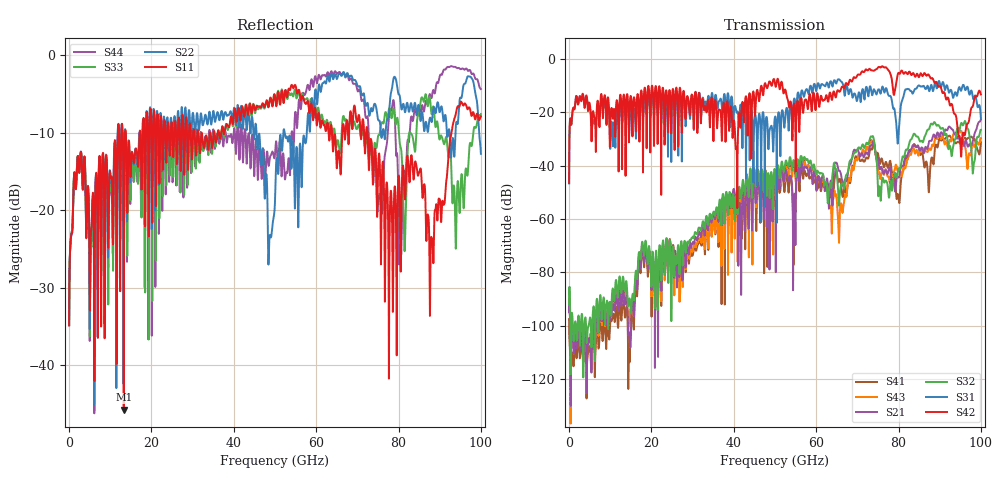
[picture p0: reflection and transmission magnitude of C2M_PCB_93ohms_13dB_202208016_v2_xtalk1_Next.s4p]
! Info: Touchstone file created by Circ.  Input file=Intel_C2M_200G_3p0in_202208016_staggered.circ
# Hz S RI R 50
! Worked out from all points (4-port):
!   10000 points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, 10 MHz to 100 GHz, reference 50 ohm
!   strongest paths, dB at 10 MHz, 25.01 GHz, 50.01 GHz, 75.01 GHz, 100 GHz:
!     S42: -46.6, -14.2, -9.3, -3.2, -13.3
!     S31: -46.7, -17.4, -21.7, -11.7, -22.2
!     S32: -92.2, -79.7, -42.3, -49.0, -26.6
!     S21: -94.6, -73.5, -47.1, -37.7, -22.7
!     S43: -94.1, -78.2, -43.4, -41.8, -29.6
!     S41: -97.4, -72.6, -48.2, -35.5, -31.3
!   lowest |S11| = -45.8 dB at 13.28 GHz (marker M1), VSWR 1.01, Z = 49.6 - j0.34 ohm
!   |S11| at or under -10 dB: start of sweep to 11.85 GHz; 13.76 GHz to 17.13 GHz (3.37 GHz wide, 21.8 % of centre); 72.5 GHz to 92.87 GHz (20.37 GHz wide, 24.6 % of centre)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
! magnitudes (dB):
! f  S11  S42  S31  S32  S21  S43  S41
! 10 MHz  -34.9  -46.6  -46.7  -92.2  -94.6  -94.1  -97.4
! 2.09 GHz  -13.1  -16.9  -16.2  -98.8  -103.7  -102.7  -107.2
! 13.28 GHz  -45.8  -13.4  -16.7  -83.7  -87.6  -86.1  -91.0
! 53.34 GHz  -4.3  -17.6  -26.7  -39.7  -45.7  -42.9  -49.7
! 76.31 GHz  -14.3  -3.0  -11.2  -45.2  -43.0  -42.6  -39.9
! 95.05 GHz  -6.1  -32.6  -11.7  -25.0  -31.8  -27.3  -30.3
! 100 GHz  -7.9  -13.3  -22.2  -26.6  -22.7  -29.6  -31.3
